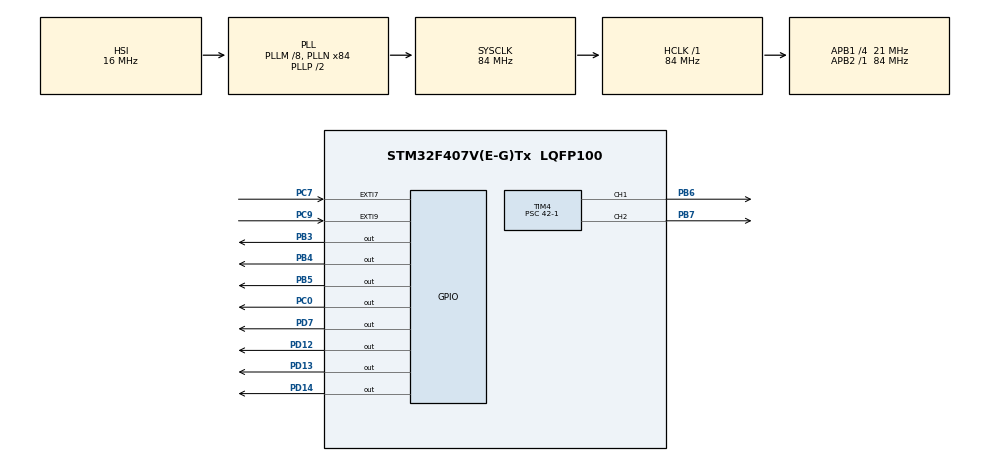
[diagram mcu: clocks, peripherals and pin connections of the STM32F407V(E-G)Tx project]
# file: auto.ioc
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Mcu.Family=STM32F4
Mcu.Name=STM32F407V(E-G)Tx
Mcu.Package=LQFP100
NVIC.EXTI9_5_IRQn=true\:0\:0\:false\:false\:true\:true\:true\:true
NVIC.PriorityGroup=NVIC_PRIORITYGROUP_4
PB3.Signal=GPIO_Output
PB4.Signal=GPIO_Output
PB5.Signal=GPIO_Output
PB6.GPIO_Speed=GPIO_SPEED_FREQ_MEDIUM
PB6.Signal=S_TIM4_CH1
PB7.GPIO_Speed=GPIO_SPEED_FREQ_MEDIUM
PB7.Signal=S_TIM4_CH2
PC0.Signal=GPIO_Output
PC7.GPIO_ModeDefaultEXTI=GPIO_MODE_IT_RISING_FALLING
PC7.Signal=GPXTI7
PC9.GPIO_ModeDefaultEXTI=GPIO_MODE_IT_RISING_FALLING
PC9.Signal=GPXTI9
PD12.Signal=GPIO_Output
PD13.Signal=GPIO_Output
PD14.Signal=GPIO_Output
PD7.Signal=GPIO_Output
ProjectManager.HeapSize=0x200
ProjectManager.StackSize=0x400
ProjectManager.TargetToolchain=STM32CubeIDE
RCC.48MHZClocksFreq_Value=42000000
RCC.AHBFreq_Value=84000000
RCC.APB1CLKDivider=RCC_HCLK_DIV4
RCC.APB1Freq_Value=21000000
RCC.APB1TimFreq_Value=42000000
RCC.APB2Freq_Value=84000000
RCC.APB2TimFreq_Value=84000000
RCC.CortexFreq_Value=84000000
RCC.HCLKFreq_Value=84000000
RCC.HSE_VALUE=25000000
RCC.HSI_VALUE=16000000
RCC.LSE_VALUE=32768
RCC.PLLM=8
RCC.PLLN=84
RCC.SYSCLKFreq_VALUE=84000000
RCC.SYSCLKSource=RCC_SYSCLKSOURCE_PLLCLK
RCC.VCOOutputFreq_Value=168000000
SH.S_TIM4_CH1.0=TIM4_CH1,PWM Generation1 CH1
SH.S_TIM4_CH2.0=TIM4_CH2,PWM Generation2 CH2
TIM4.AutoReloadPreload=TIM_AUTORELOAD_PRELOAD_ENABLE
TIM4.Channel-PWM\ Generation1\ CH1=TIM_CHANNEL_1
TIM4.Channel-PWM\ Generation2\ CH2=TIM_CHANNEL_2
TIM4.Period=10000-1
TIM4.Prescaler=42-1
VP_TIM4_VS_ClockSourceINT.Mode=Internal
board=custom

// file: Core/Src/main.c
/* USER CODE BEGIN Header */
/**
  ******************************************************************************
  * @file           : main.c
  * @brief          : Main program body
  ******************************************************************************
  * @attention
  *
  * Copyright (c) 2025 STMicroelectronics.
  * All rights reserved.
  *
  * This software is licensed under terms that can be found in the LICENSE file
  * in the root directory of this software component.
  * If no LICENSE file comes with this software, it is provided AS-IS.
  *
  ******************************************************************************
  Pines Motor izquierdo: M0 - PD7, M1 -PB4, Vel - PB6
  Pines Motor derecho: M0 - PB3, M1 - PB5, Vel - PB7
  Sensor izquierdo: PC7
  Sensor derecho: PC9

  */
/* USER CODE END Header */
#include "main.h"

/* USER CODE BEGIN Includes */
#include "Statechart_required.h"
/* USER CODE END Includes */

/* USER CODE BEGIN PD */
#define VELRECTO 2500
#define VELGIRO 2500
/* USER CODE END PD */

TIM_HandleTypeDef htim4;

/* USER CODE BEGIN PV */
int cambioSensorIzqAsc = 0, cambioSensorDerAsc = 0;
int cambioSensorIzqDesc = 0, cambioSensorDerDesc = 0;
/* USER CODE END PV */

void SystemClock_Config(void);
static void MX_GPIO_Init(void);
static void MX_TIM4_Init(void);

int main(void)
{

  /* USER CODE BEGIN 1 */
  Statechart modelo_auto;

  /* USER CODE END 1 */

  /* MCU Configuration--------------------------------------------------------*/

  /* Reset of all peripherals, Initializes the Flash interface and the Systick. */
  HAL_Init();

  /* Configure the system clock */
  SystemClock_Config();

  /* Initialize all configured peripherals */
  MX_GPIO_Init();
  MX_TIM4_Init();
  /* USER CODE BEGIN 2 */
  statechart_init(&modelo_auto);
  statechart_enter(&modelo_auto);
  HAL_TIM_PWM_Start(&htim4,TIM_CHANNEL_1);
  HAL_TIM_PWM_Start(&htim4,TIM_CHANNEL_2);

  /* USER CODE END 2 */

  /* Infinite loop */
  /* USER CODE BEGIN WHILE */
  while (1)
  {

	  if (cambioSensorIzqAsc == 1){
		  statechart_raise_sensorIzqON(&modelo_auto);
		  cambioSensorIzqAsc=0;
	  }
	  if (cambioSensorDerAsc == 1) {
		  statechart_raise_sensorDerON(&modelo_auto);
		  cambioSensorDerAsc=0;
	  }
	  if (cambioSensorIzqDesc == 1){
		  statechart_raise_sensorIzqOFF(&modelo_auto);
		  cambioSensorIzqDesc=0;
	  }
	  if (cambioSensorDerDesc == 1){
		  statechart_raise_sensorDerOFF(&modelo_auto);
		  cambioSensorDerDesc=0;
	  }

    /* USER CODE END WHILE */

  }
}

void SystemClock_Config(void)
{
  RCC_OscInitTypeDef RCC_OscInitStruct = {0};
  RCC_ClkInitTypeDef RCC_ClkInitStruct = {0};

  /** Configure the main internal regulator output voltage
  */
  __HAL_RCC_PWR_CLK_ENABLE();
  __HAL_PWR_VOLTAGESCALING_CONFIG(PWR_REGULATOR_VOLTAGE_SCALE1);

  /** Initializes the RCC Oscillators according to the specified parameters
  * in the RCC_OscInitTypeDef structure.
  */
  RCC_OscInitStruct.OscillatorType = RCC_OSCILLATORTYPE_HSI;
  RCC_OscInitStruct.HSIState = RCC_HSI_ON;
  RCC_OscInitStruct.HSICalibrationValue = RCC_HSICALIBRATION_DEFAULT;
  RCC_OscInitStruct.PLL.PLLState = RCC_PLL_ON;
  RCC_OscInitStruct.PLL.PLLSource = RCC_PLLSOURCE_HSI;
  RCC_OscInitStruct.PLL.PLLM = 8;
  RCC_OscInitStruct.PLL.PLLN = 84;
  RCC_OscInitStruct.PLL.PLLP = RCC_PLLP_DIV2;
  RCC_OscInitStruct.PLL.PLLQ = 4;
  if (HAL_RCC_OscConfig(&RCC_OscInitStruct) != HAL_OK)
  {
    Error_Handler();
  }

  /** Initializes the CPU, AHB and APB buses clocks
  */
  RCC_ClkInitStruct.ClockType = RCC_CLOCKTYPE_HCLK|RCC_CLOCKTYPE_SYSCLK
                              |RCC_CLOCKTYPE_PCLK1|RCC_CLOCKTYPE_PCLK2;
  RCC_ClkInitStruct.SYSCLKSource = RCC_SYSCLKSOURCE_PLLCLK;
  RCC_ClkInitStruct.AHBCLKDivider = RCC_SYSCLK_DIV1;
  RCC_ClkInitStruct.APB1CLKDivider = RCC_HCLK_DIV4;
  RCC_ClkInitStruct.APB2CLKDivider = RCC_HCLK_DIV1;

  if (HAL_RCC_ClockConfig(&RCC_ClkInitStruct, FLASH_LATENCY_2) != HAL_OK)
  {
    Error_Handler();
  }
}

static void MX_TIM4_Init(void)
{

  TIM_ClockConfigTypeDef sClockSourceConfig = {0};
  TIM_MasterConfigTypeDef sMasterConfig = {0};
  TIM_OC_InitTypeDef sConfigOC = {0};

  htim4.Instance = TIM4;
  htim4.Init.Prescaler = 42-1;
  htim4.Init.CounterMode = TIM_COUNTERMODE_UP;
  htim4.Init.Period = 10000-1;
  htim4.Init.ClockDivision = TIM_CLOCKDIVISION_DIV1;
  htim4.Init.AutoReloadPreload = TIM_AUTORELOAD_PRELOAD_ENABLE;
  if (HAL_TIM_Base_Init(&htim4) != HAL_OK)
  {
    Error_Handler();
  }
  sClockSourceConfig.ClockSource = TIM_CLOCKSOURCE_INTERNAL;
  if (HAL_TIM_ConfigClockSource(&htim4, &sClockSourceConfig) != HAL_OK)
  {
    Error_Handler();
  }
  if (HAL_TIM_PWM_Init(&htim4) != HAL_OK)
  {
    Error_Handler();
  }
  sMasterConfig.MasterOutputTrigger = TIM_TRGO_RESET;
  sMasterConfig.MasterSlaveMode = TIM_MASTERSLAVEMODE_DISABLE;
  if (HAL_TIMEx_MasterConfigSynchronization(&htim4, &sMasterConfig) != HAL_OK)
  {
    Error_Handler();
  }
  sConfigOC.OCMode = TIM_OCMODE_PWM1;
  sConfigOC.Pulse = 0;
  sConfigOC.OCPolarity = TIM_OCPOLARITY_HIGH;
  sConfigOC.OCFastMode = TIM_OCFAST_DISABLE;
  if (HAL_TIM_PWM_ConfigChannel(&htim4, &sConfigOC, TIM_CHANNEL_1) != HAL_OK)
  {
    Error_Handler();
  }
  if (HAL_TIM_PWM_ConfigChannel(&htim4, &sConfigOC, TIM_CHANNEL_2) != HAL_OK)
  {
    Error_Handler();
  }
  HAL_TIM_MspPostInit(&htim4);

}

static void MX_GPIO_Init(void)
{
  GPIO_InitTypeDef GPIO_InitStruct = {0};

  /* GPIO Ports Clock Enable */
  __HAL_RCC_GPIOC_CLK_ENABLE();
  __HAL_RCC_GPIOD_CLK_ENABLE();
  __HAL_RCC_GPIOB_CLK_ENABLE();

  /*Configure GPIO pin Output Level */
  HAL_GPIO_WritePin(GPIOC, GPIO_PIN_0, GPIO_PIN_RESET);

  /*Configure GPIO pin Output Level */
  HAL_GPIO_WritePin(GPIOD, GPIO_PIN_12|GPIO_PIN_13|GPIO_PIN_14|GPIO_PIN_7, GPIO_PIN_RESET);

  /*Configure GPIO pin Output Level */
  HAL_GPIO_WritePin(GPIOB, GPIO_PIN_3|GPIO_PIN_4|GPIO_PIN_5, GPIO_PIN_RESET);

  /*Configure GPIO pin : PC0 */
  GPIO_InitStruct.Pin = GPIO_PIN_0;
  GPIO_InitStruct.Mode = GPIO_MODE_OUTPUT_PP;
  GPIO_InitStruct.Pull = GPIO_NOPULL;
  GPIO_InitStruct.Speed = GPIO_SPEED_FREQ_LOW;
  HAL_GPIO_Init(GPIOC, &GPIO_InitStruct);

  /*Configure GPIO pins : PD12 PD13 PD14 PD7 */
  GPIO_InitStruct.Pin = GPIO_PIN_12|GPIO_PIN_13|GPIO_PIN_14|GPIO_PIN_7;
  GPIO_InitStruct.Mode = GPIO_MODE_OUTPUT_PP;
  GPIO_InitStruct.Pull = GPIO_NOPULL;
  GPIO_InitStruct.Speed = GPIO_SPEED_FREQ_LOW;
  HAL_GPIO_Init(GPIOD, &GPIO_InitStruct);

  /*Configure GPIO pins : PC7 PC9 */
  GPIO_InitStruct.Pin = GPIO_PIN_7|GPIO_PIN_9;
  GPIO_InitStruct.Mode = GPIO_MODE_IT_RISING_FALLING;
  GPIO_InitStruct.Pull = GPIO_NOPULL;
  HAL_GPIO_Init(GPIOC, &GPIO_InitStruct);

  /*Configure GPIO pins : PB3 PB4 PB5 */
  GPIO_InitStruct.Pin = GPIO_PIN_3|GPIO_PIN_4|GPIO_PIN_5;
  GPIO_InitStruct.Mode = GPIO_MODE_OUTPUT_PP;
  GPIO_InitStruct.Pull = GPIO_NOPULL;
  GPIO_InitStruct.Speed = GPIO_SPEED_FREQ_LOW;
  HAL_GPIO_Init(GPIOB, &GPIO_InitStruct);

  /* EXTI interrupt init*/
  HAL_NVIC_SetPriority(EXTI9_5_IRQn, 0, 0);
  HAL_NVIC_EnableIRQ(EXTI9_5_IRQn);

}

/* USER CODE BEGIN 4 */
void HAL_GPIO_EXTI_Callback(uint16_t GPIO_Pin) {
		if (GPIO_Pin == senIzq){
			if (HAL_GPIO_ReadPin(GPIOC,senIzq) == GPIO_PIN_SET){
				HAL_GPIO_WritePin(GPIOD,GPIO_PIN_13,GPIO_PIN_SET);
				cambioSensorIzqAsc = 1;
			}
			else{
				HAL_GPIO_WritePin(GPIOD,GPIO_PIN_13,GPIO_PIN_RESET);
				cambioSensorIzqDesc = 1;
			}

		} else if (GPIO_Pin == senDer){
			if (HAL_GPIO_ReadPin(GPIOC,senDer) == GPIO_PIN_SET){
				HAL_GPIO_WritePin(GPIOD,GPIO_PIN_12,GPIO_PIN_SET);
				cambioSensorDerAsc = 1;
			}

			else{
				HAL_GPIO_WritePin(GPIOD,GPIO_PIN_12,GPIO_PIN_RESET);
				cambioSensorDerDesc = 1;
			}

		}
}

void statechart_recto( Statechart* handle){
	HAL_GPIO_WritePin(GPIOD, izqM0, GPIO_PIN_SET);
	HAL_GPIO_WritePin(GPIOB, izqM1,GPIO_PIN_RESET);

	HAL_GPIO_WritePin(GPIOB, derM0,GPIO_PIN_SET);
	HAL_GPIO_WritePin(GPIOB, derM1,GPIO_PIN_RESET);
	HAL_GPIO_WritePin(GPIOD,GPIO_PIN_14,GPIO_PIN_RESET);
}

void statechart_bajarVelocidad(Statechart* handle){
	TIM4->CCR1 = 6000;
	TIM4->CCR2 = 6000;

}
void statechart_girarDer(Statechart* handle){
	HAL_GPIO_WritePin(GPIOB, izqM0,GPIO_PIN_SET);
	HAL_GPIO_WritePin(GPIOB, izqM1,GPIO_PIN_RESET);
	TIM4->CCR1 = VELGIRO;
}

void statechart_girarIzq(Statechart* handle){
	HAL_GPIO_WritePin(GPIOD, derM0, GPIO_PIN_SET);
	HAL_GPIO_WritePin(GPIOB, derM1,GPIO_PIN_RESET);
	TIM4->CCR2 = VELGIRO;
}

void statechart_frenar(Statechart* handle){
	HAL_GPIO_WritePin(GPIOD, izqM0, GPIO_PIN_SET);
	HAL_GPIO_WritePin(GPIOB, izqM1,GPIO_PIN_SET);
	TIM4->CCR1 = 0;

	HAL_GPIO_WritePin(GPIOB, derM0,GPIO_PIN_SET);
	HAL_GPIO_WritePin(GPIOB, derM1,GPIO_PIN_SET);
	TIM4->CCR2 = 0;
	HAL_GPIO_WritePin(GPIOD,GPIO_PIN_14,GPIO_PIN_SET);
}

void statechart_arrancar(Statechart * handle){
	TIM4->CCR1 = VELRECTO;
	TIM4->CCR2 = VELRECTO;
}

/* USER CODE END 4 */

void Error_Handler(void)
{
  __disable_irq();
  while (1)
  {
  }
}
